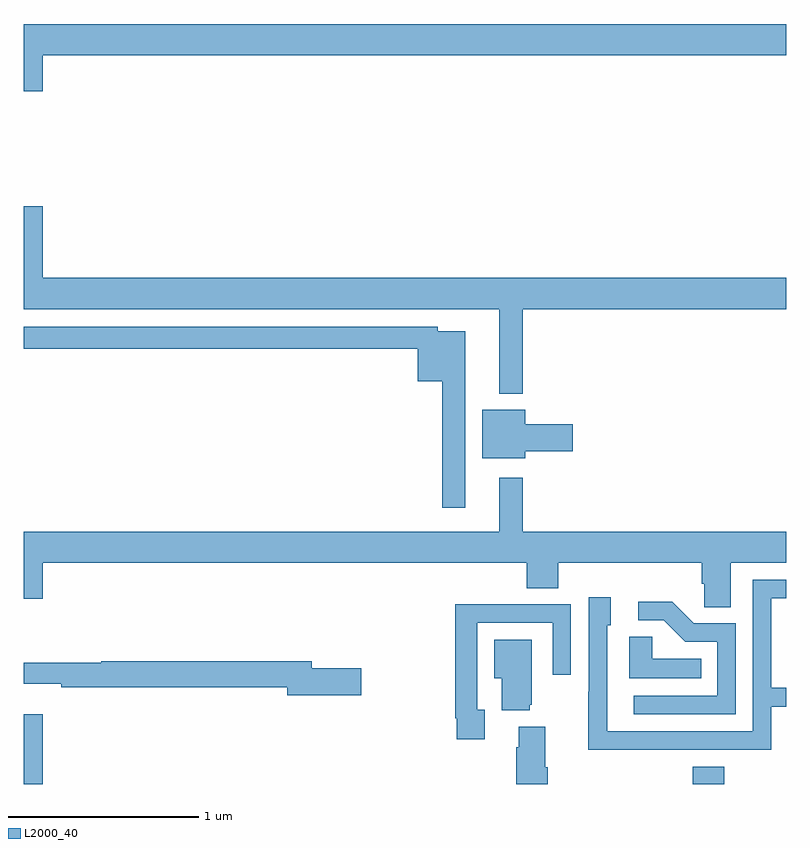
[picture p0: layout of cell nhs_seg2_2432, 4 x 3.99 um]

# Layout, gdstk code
import gdstk
lib = gdstk.Library(unit=1e-6, precision=1e-09)
def R(c, l, rs):  # rectangles x0, y0, x1, y1
    for r in rs: c.add(gdstk.rectangle(r[:2], r[2:], *l))
def P(c, l, *ps):  # polygons
    for p in ps: c.add(gdstk.Polygon(p, *l))
L2000_40 = (2000, 40)

nhs_seg2_2432 = lib.new_cell('nhs_seg2_2432')
R(nhs_seg2_2432, L2000_40, [(237,655.8,237.1,656.167), (240.509,655.8,240.674,655.891)])
P(nhs_seg2_2432, L2000_40, [(237.1,659.624),(241,659.624),(241,659.788),(237,659.788),(237,659.436),(237.1,659.436)],
  [(237,658.831),(237,658.292),(239.495,658.292),(239.495,657.848),(239.617,657.848),(239.617,658.292),(241,658.292),(241,658.456),(237.1,658.456),(237.1,658.831)],
  [(239.317,658.177),(239.172,658.177),(239.172,658.2),(237,658.2),(237,658.084),(239.066,658.084),(239.066,657.914),(239.196,657.914),(239.196,657.249),(239.317,657.249)],
  [(239.632,657.547),(239.881,657.547),(239.881,657.689),(239.632,657.689),(239.632,657.763),(239.405,657.763),(239.405,657.509),(239.632,657.509)],
  [(240.709,656.96),(241,656.96),(241,657.124),(239.617,657.124),(239.617,657.406),(239.495,657.406),(239.495,657.124),(237,657.124),(237,656.772),(237.1,656.772),(237.1,656.96),(239.639,656.96),(239.639,656.827),(239.804,656.827),(239.804,656.96),(240.557,656.96),(240.557,656.851),(240.57,656.851),(240.57,656.728),(240.709,656.728)],
  [(240.425,655.98),(240.921,655.98),(240.921,656.205),(241,656.205),(241,656.306),(240.921,656.306),(240.921,656.775),(241,656.775),(241,656.871),(240.825,656.871),(240.825,656.076),(240.06,656.076),(240.06,656.634),(240.079,656.634),(240.079,656.779),(239.964,656.779),(239.964,656.285),(239.962,656.285),(239.962,655.979),(240.425,655.979)],
  [(240.735,656.643),(240.516,656.643),(240.403,656.756),(240.225,656.756),(240.225,656.658),(240.359,656.658),(240.47,656.547),(240.639,656.547),(240.639,656.262),(240.201,656.262),(240.201,656.166),(240.735,656.166)],
  [(239.419,656.19),(239.379,656.19),(239.379,656.646),(239.775,656.646),(239.775,656.373),(239.871,656.373),(239.871,656.742),(239.555,656.742),(239.555,656.744),(239.263,656.744),(239.263,656.146),(239.271,656.146),(239.271,656.034),(239.419,656.034)],
  [(240.554,656.458),(240.297,656.458),(240.297,656.573),(240.176,656.573),(240.176,656.354),(240.554,656.354)],
  [(239.654,656.217),(239.665,656.217),(239.665,656.557),(239.468,656.557),(239.468,656.354),(239.507,656.354),(239.507,656.186),(239.654,656.186)],
  [(238.771,656.408),(238.51,656.408),(238.51,656.444),(237.406,656.444),(237.406,656.437),(237,656.437),(237,656.327),(237.196,656.327),(237.196,656.308),(238.382,656.308),(238.382,656.266),(238.771,656.266)],
  [(239.75,655.888),(239.737,655.888),(239.737,656.101),(239.597,656.101),(239.597,655.994),(239.585,655.994),(239.585,655.8),(239.75,655.8)])

lib.write_gds('nhs_seg2_2432.gds')
